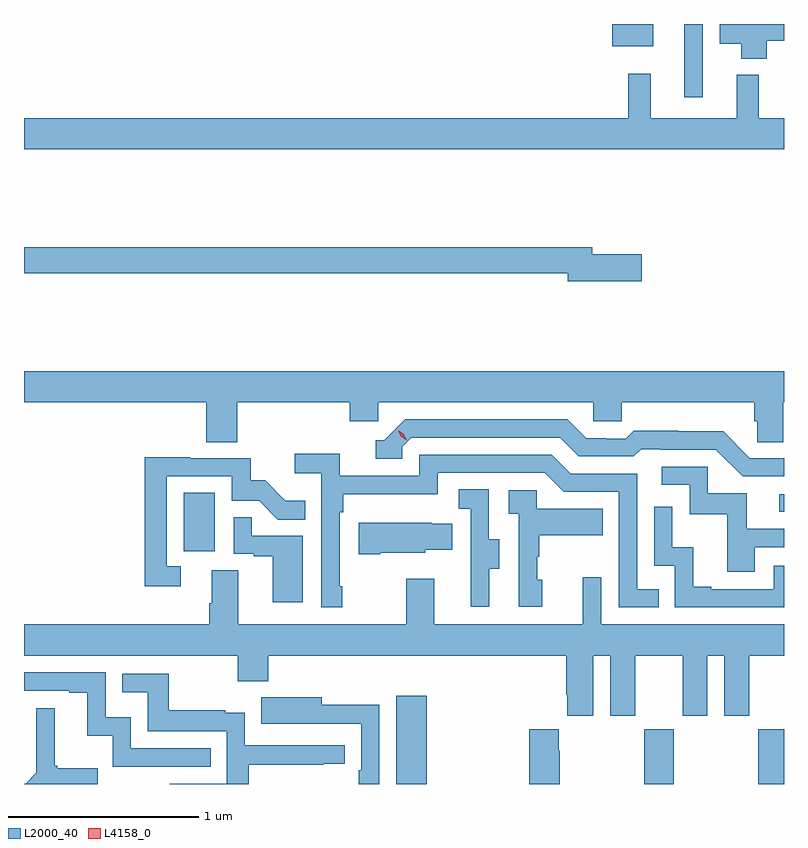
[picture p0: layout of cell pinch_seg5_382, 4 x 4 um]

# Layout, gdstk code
import gdstk
lib = gdstk.Library(unit=1e-6, precision=1e-09)
def R(c, l, rs):  # rectangles x0, y0, x1, y1
    for r in rs: c.add(gdstk.rectangle(r[:2], r[2:], *l))
def P(c, l, *ps):  # polygons
    for p in ps: c.add(gdstk.Polygon(p, *l))
L2000_40 = (2000, 40)
L4158_0 = (4158, 0)

pinch_seg5_382 = lib.new_cell('pinch_seg5_382')
R(pinch_seg5_382, L2000_40, [(975.407,872.068,975.568,872.533), (976.711,872.068,976.866,872.356), (977.311,872.068,977.447,872.356), (974.288,873.294,974.452,873.601), (977.421,873.501,977.447,873.594), (976.922,875.682,977.019,876.068), (976.544,875.951,976.759,876.068)])
P(pinch_seg5_382, L2000_40, [(977.357,875.981),(977.447,875.981),(977.447,876.068),(977.108,876.068),(977.108,875.963),(977.222,875.963),(977.222,875.885),(977.357,875.885)],
  [(977.447,875.572),(977.315,875.572),(977.315,875.8),(977.198,875.8),(977.198,875.572),(976.745,875.572),(976.745,875.806),(976.627,875.806),(976.627,875.572),(973.447,875.572),(973.447,875.408),(977.447,875.408)],
  [(976.699,874.856),(976.438,874.856),(976.438,874.892),(973.447,874.892),(973.447,874.756),(976.31,874.756),(976.31,874.714),(976.699,874.714)],
  [(974.57,874.076),(975.161,874.076),(975.161,873.978),(975.312,873.978),(975.312,874.076),(976.443,874.076),(976.443,873.978),(976.593,873.978),(976.593,874.076),(977.291,874.076),(977.291,873.978),(977.305,873.978),(977.305,873.868),(977.442,873.868),(977.442,874.076),(977.447,874.076),(977.447,874.24),(973.447,874.24),(973.447,874.076),(974.405,874.076),(974.405,873.868),(974.57,873.868)],
  [(977.447,873.783),(977.268,873.783),(977.126,873.925),(976.89,873.925),(976.89,873.928),(976.657,873.928),(976.615,873.885),(976.512,873.885),(976.512,873.888),(976.405,873.888),(976.306,873.987),(975.453,873.987),(975.342,873.876),(975.299,873.876),(975.299,873.78),(975.438,873.78),(975.438,873.843),(975.486,873.891),(976.269,873.891),(976.368,873.792),(976.657,873.792),(976.696,873.831),(976.795,873.831),(976.795,873.828),(977.088,873.828),(977.229,873.687),(977.447,873.687)],
  [(975.121,873.109),(975.108,873.109),(975.108,873.497),(975.128,873.497),(975.128,873.593),(975.624,873.593),(975.624,873.705),(976.188,873.705),(976.287,873.606),(976.578,873.606),(976.578,872.997),(976.787,872.997),(976.787,873.093),(976.674,873.093),(976.674,873.702),(976.324,873.702),(976.225,873.801),(975.528,873.801),(975.528,873.69),(975.11,873.69),(975.11,873.806),(974.871,873.806),(974.871,873.704),(975.012,873.704),(975.012,872.997),(975.121,872.997)],
  [(974.272,873.213),(974.199,873.213),(974.199,873.687),(974.541,873.687),(974.541,873.558),(974.685,873.558),(974.783,873.46),(974.927,873.46),(974.927,873.559),(974.823,873.559),(974.716,873.666),(974.64,873.666),(974.64,873.783),(974.321,873.783),(974.321,873.788),(974.083,873.788),(974.083,873.108),(974.272,873.108)],
  [(977.293,873.315),(977.447,873.315),(977.447,873.411),(977.251,873.411),(977.251,873.597),(977.046,873.597),(977.046,873.738),(976.803,873.738),(976.803,873.642),(976.95,873.642),(976.95,873.489),(977.149,873.489),(977.149,873.186),(977.293,873.186)],
  [(975.895,873.202),(975.949,873.202),(975.949,873.357),(975.894,873.357),(975.894,873.62),(975.735,873.62),(975.735,873.517),(975.798,873.517),(975.798,873.213),(975.797,873.213),(975.797,873),(975.895,873)],
  [(976.174,873.144),(976.149,873.144),(976.149,873.263),(976.159,873.263),(976.159,873.377),(976.493,873.377),(976.493,873.517),(976.146,873.517),(976.146,873.615),(975.999,873.615),(975.999,873.491),(976.05,873.491),(976.05,873),(976.174,873)],
  [(977.447,873.216),(977.394,873.216),(977.394,873.093),(977.065,873.093),(977.065,873.106),(976.97,873.106),(976.97,873.314),(976.86,873.314),(976.86,873.526),(976.764,873.526),(976.764,873.216),(976.872,873.216),(976.872,872.997),(977.447,872.997)],
  [(974.914,873.375),(974.645,873.375),(974.645,873.473),(974.55,873.473),(974.55,873.279),(974.657,873.279),(974.657,873.267),(974.756,873.267),(974.756,873.024),(974.914,873.024)],
  [(975.322,873.284),(975.558,873.284),(975.558,873.302),(975.701,873.302),(975.701,873.439),(975.593,873.439),(975.593,873.442),(975.21,873.442),(975.21,873.277),(975.322,873.277)],
  [(976.444,872.744),(976.532,872.744),(976.532,872.427),(976.663,872.427),(976.663,872.744),(976.913,872.744),(976.913,872.427),(977.044,872.427),(977.044,872.744),(977.132,872.744),(977.132,872.427),(977.263,872.427),(977.263,872.744),(977.447,872.744),(977.447,872.908),(976.485,872.908),(976.485,873.157),(976.388,873.157),(976.388,872.908),(975.607,872.908),(975.607,873.148),(975.46,873.148),(975.46,872.908),(974.575,872.908),(974.575,873.194),(974.435,873.194),(974.435,873.02),(974.423,873.02),(974.423,872.908),(973.447,872.908),(973.447,872.744),(974.572,872.744),(974.572,872.609),(974.732,872.609),(974.732,872.744),(976.301,872.744),(976.301,872.539),(976.307,872.539),(976.307,872.427),(976.444,872.427)],
  [(974.429,872.256),(974.01,872.256),(974.01,872.419),(973.878,872.419),(973.878,872.655),(973.447,872.655),(973.447,872.559),(973.685,872.559),(973.685,872.547),(973.781,872.547),(973.781,872.321),(973.914,872.321),(973.914,872.16),(974.429,872.16)],
  [(974.63,872.17),(975.023,872.17),(975.023,872.175),(975.136,872.175),(975.136,872.271),(974.61,872.271),(974.61,872.443),(974.507,872.443),(974.507,872.455),(974.209,872.455),(974.209,872.649),(973.963,872.649),(973.963,872.552),(974.098,872.552),(974.098,872.346),(974.514,872.346),(974.514,872.07),(974.213,872.07),(974.213,872.068),(974.63,872.068)],
  [(975.318,872.486),(975.013,872.486),(975.013,872.524),(974.695,872.524),(974.695,872.384),(974.909,872.384),(974.909,872.385),(975.222,872.385),(975.222,872.14),(975.209,872.14),(975.209,872.068),(975.318,872.068)],
  [(973.834,872.152),(973.621,872.152),(973.621,872.164),(973.609,872.164),(973.609,872.467),(973.512,872.467),(973.512,872.127),(973.455,872.07),(973.447,872.07),(973.447,872.068),(973.834,872.068)],
  [(976.266,872.243),(976.261,872.243),(976.261,872.356),(976.106,872.356),(976.106,872.068),(976.266,872.068)])
P(pinch_seg5_382, L4158_0, [(975.461,873.877),(975.431,873.897),(975.416,873.93),(975.416,873.93),(975.416,873.93),(975.446,873.91),(975.462,873.877),(975.462,873.877)])

lib.write_gds('pinch_seg5_382.gds')
